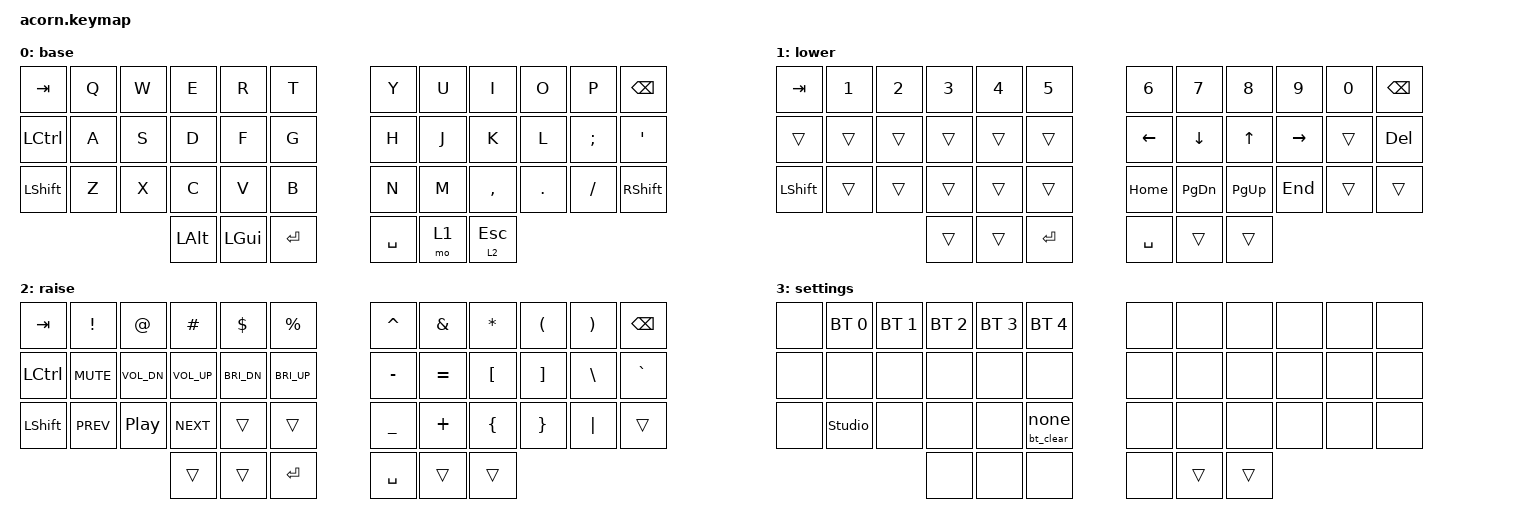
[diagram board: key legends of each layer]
#include <behaviors.dtsi>
#include <dt-bindings/zmk/keys.h>
#include <dt-bindings/zmk/bt.h>

&lt {
    // Activate Raise when another key is pressed and released while Escape is held.
    flavor = "balanced";
    tapping-term-ms = <200>;
};

/ {
    conditional_layers {
        compatible = "zmk,conditional-layers";

        settings {
            if-layers = <1 2>;
            then-layer = <3>;
        };
    };

    macros {
        bt_clear: bt_clear {
            compatible = "zmk,behavior-macro";
            #binding-cells = <0>;
            wait-ms = <0>;
            tap-ms = <0>;
            bindings = <&bt BT_CLR>;
        };
    };

    behaviors {
        bt_clear_hold: bt_clear_hold {
            compatible = "zmk,behavior-hold-tap";
            #binding-cells = <2>;
            // Other key presses must not bypass the one-second hold.
            flavor = "tap-preferred";
            tapping-term-ms = <1000>;
            bindings = <&bt_clear>, <&none>;
        };
    };

    keymap {
        compatible = "zmk,keymap";

        default_layer {
            display-name = "base";
// -----------------------------------------------------------------------------------------
// | TAB  |  Q  |  W  |  E  |  R  |  T  |   |  Y  |  U  |  I  |  O  |  P  | BSPC |
// | CTRL |  A  |  S  |  D  |  F  |  G  |   |  H  |  J  |  K  |  L  |  ;  |  '   |
// | LSHFT|  Z  |  X  |  C  |  V  |  B  |   |  N  |  M  |  ,  |  .  |  /  | RSHFT|
//                    | ALT | GUI | RET |   | SPC | LWR | ESC |
            bindings = <
&kp TAB   &kp Q &kp W &kp E &kp R &kp T   &kp Y &kp U  &kp I     &kp O   &kp P    &kp BSPC
&kp LCTRL &kp A &kp S &kp D &kp F &kp G   &kp H &kp J  &kp K     &kp L   &kp SEMI &kp SQT
&kp LSHFT &kp Z &kp X &kp C &kp V &kp B   &kp N &kp M  &kp COMMA &kp DOT &kp FSLH &kp RSHFT
              &kp LALT &kp LGUI &kp RET   &kp SPACE &mo 1 &lt 2 ESC
            >;
        };

        lower_layer {
            display-name = "lower";
// -----------------------------------------------------------------------------------------
// |  TAB |  1  |  2  |  3  |  4  |  5  |   |  6  |  7  |  8  |  9  |  0  | BSPC |
// | CTRL |     |     |     |     |     |   | LFT | DWN |  UP | RGT |     | DEL  |
// | SHFT |     |     |     |     |     |   | HOME| PGDN| PGUP| END |     |      |
//                    | ALT |     | ENT |   | SPC |     | ESC |
// Rightmost thumb: tap Escape, hold Raise (inherited from base).
// Hold Lower + Raise together for Settings.
            bindings = <
&kp TAB   &kp N1 &kp N2 &kp N3 &kp N4 &kp N5  &kp N6    &kp N7    &kp N8    &kp N9    &kp N0 &kp BSPC
&trans    &trans &trans &trans &trans &trans  &kp LEFT  &kp DOWN  &kp UP    &kp RIGHT &trans &kp DEL
&kp LSHFT &trans &trans &trans &trans &trans  &kp HOME  &kp PG_DN &kp PG_UP &kp END   &trans &trans
                        &trans &trans &kp RET &kp SPACE &trans    &trans
            >;
        };

        raise_layer {
            display-name = "raise";
// -----------------------------------------------------------------------------------------
// |  TAB |  !  |  @  |  #  |  $  |  %  |   |  ^  |  &  |  *  |  (  |  )  | BSPC |
// | CTRL |MUTE |VOL- |VOL+ |BRI- |BRI+ |   |  -  |  =  |  [  |  ]  |  \  |  `   |
// | SHFT |PREV |PLAY |NEXT |     |     |   |  _  |  +  |  {  |  }  | "|" | RSHFT|
//                    | ALT |     | ENT |   | SPC |     | ESC |
// Rightmost thumb: tap Escape, hold Raise (inherited from base).
// VOL-/VOL+ volume down/up; BRI-/BRI+ brightness down/up; PLAY toggles play/pause.
// Release Raise to use the replaced letters/shortcuts.
            bindings = <
&kp TAB   &kp EXCL   &kp AT       &kp HASH     &kp DLLR     &kp PRCNT    &kp CARET &kp AMPS  &kp ASTRK &kp LPAR &kp RPAR &kp BSPC
&kp LCTRL &kp C_MUTE &kp C_VOL_DN &kp C_VOL_UP &kp C_BRI_DN &kp C_BRI_UP &kp MINUS &kp EQUAL &kp LBKT  &kp RBKT &kp BSLH &kp GRAVE
&kp LSHFT &kp C_PREV &kp C_PP     &kp C_NEXT   &trans       &trans       &kp UNDER &kp PLUS  &kp LBRC  &kp RBRC &kp PIPE &trans
                                  &trans       &trans       &kp RET      &kp SPACE &trans    &trans
            >;
        };

        settings_layer {
            display-name = "settings";
// -----------------------------------------------------------------------------------------
// |      | BT1 | BT2 | BT3 | BT4 | BT5 |   |     |     |     |     |     |      |
// |      |     |     |     |     |     |   |     |     |     |     |     |      |
// |      | STD |     |     |     |BTCLR|   |     |     |     |     |     |      |
//                    |     |     |     |   |     | LWR | RSE |
// Active only while Lower + Raise are held. Blank keys do nothing.
// STD: Z unlocks ZMK Studio. BTCLR: hold B for one second; taps do nothing.
            bindings = <
&none &bt BT_SEL 0   &bt BT_SEL 1 &bt BT_SEL 2 &bt BT_SEL 3 &bt BT_SEL 4       &none &none  &none  &none &none &none
&none &none          &none        &none        &none        &none              &none &none  &none  &none &none &none
&none &studio_unlock &none        &none        &none        &bt_clear_hold 0 0 &none &none  &none  &none &none &none
                                  &none        &none        &none              &none &trans &trans
            >;
        };

        extra_layer1 {
            display-name = "extra_layer1";
            status = "reserved";
        };

        extra_layer2 {
            display-name = "extra_layer2";
            status = "reserved";
        };
    };
};
